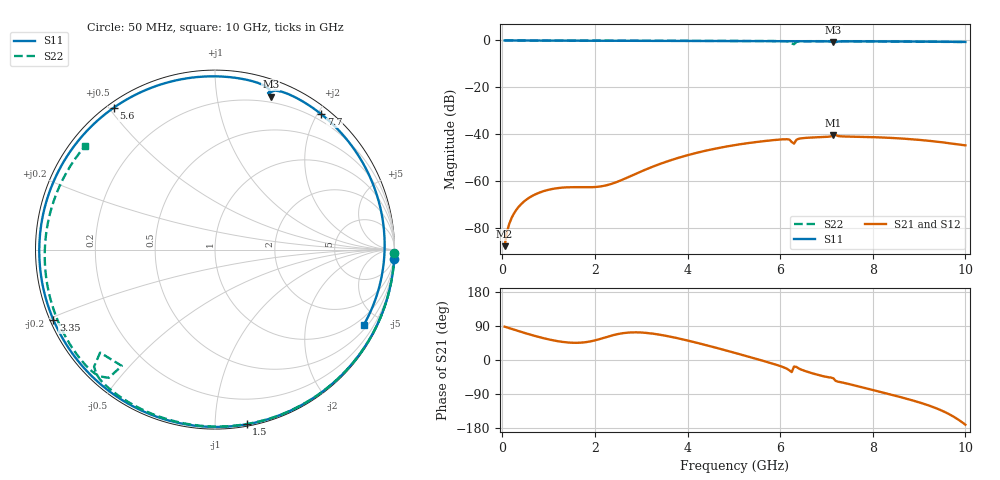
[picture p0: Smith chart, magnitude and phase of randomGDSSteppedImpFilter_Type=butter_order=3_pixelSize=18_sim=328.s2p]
! freq	dB(S11)	phase(S11)	dB(S12)	phase(S12)
!  dB(S21)	phase(S21)	dB(S22)	phase(S22)
!S-par simulation data
#  GHz  S  DB  R 50
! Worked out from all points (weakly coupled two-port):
!   200 points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, 50 MHz to 10 GHz, reference 50 ohm
!   highest |S21| = -40.19 dB at 7.15 GHz (marker M1); lowest = -87.5 dB at 50 MHz (marker M2)
!   lowest |S11| = -0.8 dB at 7.15 GHz (marker M3), VSWR 20.65, Z = 7.32 + j70.9 ohm
!   |S11| at or under -10 dB: nowhere
!   |S22| runs from -1.6 to 0.0 dB; largest |S21 - S12| = 0
!   S11 on the Smith chart (normalised r, x): 50 MHz: 0, -40; 1.5 GHz: 0.01, -1.20; 3.35 GHz: 0.01, -0.21; 5.6 GHz: 0.02, +0.51; 7.7 GHz: 0.11, +2.05; 10 GHz: 0.66, -4.07
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0.05  -0.00 -2.8  -87.55 88.0  -87.55 88.0  -0.00 -1.2
0.1  -0.01 -5.7  -81.54 86.0  -81.54 86.0  -0.00 -2.3
0.35  -0.03 -19.6  -70.89 76.3  -70.89 76.3  -0.01 -8.1
0.6  -0.05 -33.4  -66.69 67.1  -66.69 67.1  -0.02 -13.8
1.05  -0.07 -57.3  -63.33 53.1  -63.33 53.1  -0.03 -24.0
1.5  -0.09 -79.7  -62.45 45.6  -62.45 45.6  -0.04 -34.1
1.75  -0.10 -91.5  -62.47 46.3  -62.47 46.3  -0.05 -39.7
2.6  -0.14 -127.9  -59.22 70.7  -59.22 70.7  -0.08 -58.2
3.35  -0.16 -156.4  -52.95 67.7  -52.95 67.7  -0.10 -74.1
3.4  -0.16 -158.3  -52.59 66.7  -52.59 66.7  -0.10 -75.2
4.2  -0.19 173.5  -47.81 45.5  -47.81 45.5  -0.13 -91.7
5.05  -0.23 144.4  -44.44 17.9  -44.44 17.9  -0.17 -108.9
5.6  -0.25 125.6  -42.95 -1.1  -42.95 -1.1  -0.20 -120.2
6.1  -0.28 108.2  -42.04 -20.5  -42.04 -20.5  -0.31 -131.8
6.25  -0.29 103.0  -43.23 -31.8  -43.23 -31.8  -1.31 -138.1
6.3  -0.29 101.2  -43.89 -17.2  -43.89 -17.2  -1.61 -128.7
6.7  -0.31 86.9  -41.29 -35.3  -41.29 -35.3  -0.29 -140.5
7.15  -0.84 70.0  -40.19 -48.4  -40.19 -48.4  -0.32 -150.2
7.7  -0.36 51.9  -40.98 -69.9  -40.98 -69.9  -0.37 -162.0
8.35  -0.41 28.6  -41.43 -90.0  -41.43 -90.0  -0.44 -176.5
9.15  -0.49 0.9  -42.58 -117.6  -42.58 -117.6  -0.55 164.4
10  -0.64 -26.9  -44.65 -170.8  -44.65 -170.8  -0.67 141.5
